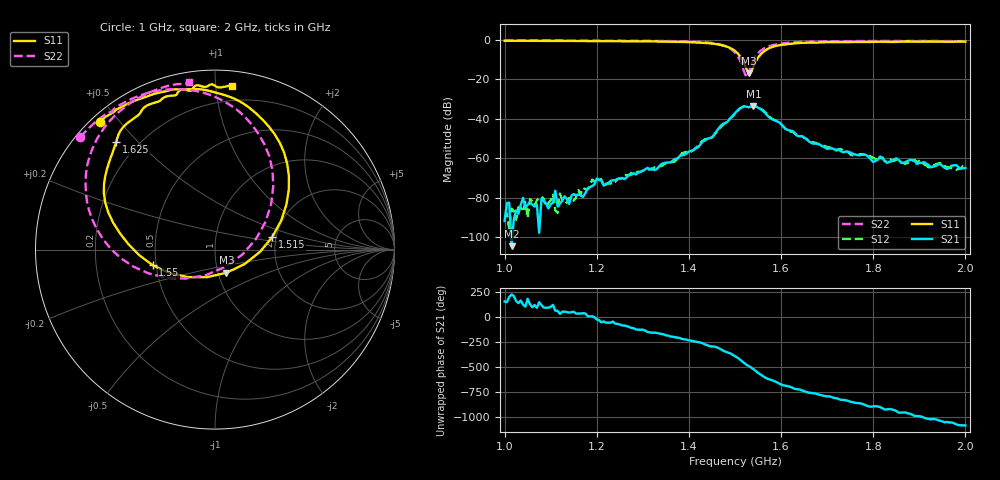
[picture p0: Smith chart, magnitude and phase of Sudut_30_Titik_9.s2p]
# Hz S RI R 50
! CMT, C1220, 16058040, 17.2.0/1
! Date: 14/08/2018 11:54:34
! Data: Format (Calibration Info)
! Freq  S11: Re/Im (F2)  S21: Re/Im (F2)  S12: Re/Im (F2)  S22: Re/Im (F2)
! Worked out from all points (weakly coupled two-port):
!   201 points, 1 GHz to 2 GHz, reference 50 ohm
!   highest |S21| = -33.62 dB at 1.54 GHz (marker M1); lowest = -104.7 dB at 1.015 GHz (marker M2)
!   lowest |S11| = -16.8 dB at 1.53 GHz (marker M3), VSWR 1.34, Z = 54.8 - j14.5 ohm
!   |S11| at or under -10 dB: 1.516 GHz to 1.547 GHz (31.65 MHz wide, 2.07 % of centre)
!   |S22| runs from -19.0 to -0.2 dB; largest |S21 - S12| = 0.00093
!   S11 on the Smith chart (normalised r, x): 1 GHz: 0.03, +0.44; 1.515 GHz: 1.91, +0.30; 1.55 GHz: 0.48, -0.10; 1.625 GHz: 0.12, +0.43; 2 GHz: 0.10, +1.10
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1e9  -0.6432 0.7106  -2.26e-05 1.17e-05  2.2e-05 -2.31e-05  -0.7501 0.6267
1.015e9  -0.6256 0.7239  -4.37e-06 -3.87e-06  -5.22e-05 -2.43e-06  -0.7397 0.6385
1.15e9  -0.4926 0.8098  7.89e-05 9.41e-05  6.72e-05 4.89e-05  -0.6327 0.7374
1.17e9  -0.4711 0.8199  8.47e-05 6.01e-05  0.000162 6.44e-05  -0.6125 0.7521
1.18e9  -0.4544 0.8267  0.000171 2.25e-05  0.00016 6.98e-08  -0.6011 0.7583
1.2e9  -0.4282 0.8359  0.000276 -0.000132  0.000262 -0.00017  -0.5784 0.7653
1.215e9  -0.4154 0.8405  0.000138 -0.000147  8.67e-05 -0.000178  -0.5716 0.7736
1.335e9  -0.2135 0.8931  -0.000593 -0.000143  -0.000615 -8.08e-05  -0.3958 0.866
1.45e9  0.1839 0.7959  0.00146 0.00301  0.00162 0.00303  0.0273 0.8381
1.5e9  0.4111 0.3341  0.012 -0.00711  0.0112 -0.00673  0.3244 0.3507
1.515e9  0.3198 0.0709  0.00293 -0.0193  0.00345 -0.0194  0.2281 0.0587
1.525e9  0.164 -0.0812  -0.00949 -0.0178  -0.00955 -0.0179  0.0569 -0.0962
1.53e9  0.064 -0.1291  -0.013 -0.0148  -0.0131 -0.0149  -0.0503 -0.1422
1.54e9  -0.1497 -0.1534  -0.0199 -0.00631  -0.0197 -0.00634  -0.2718 -0.1571
1.55e9  -0.3462 -0.0877  -0.0183 0.00597  -0.0186 0.00527  -0.454 -0.0953
1.58e9  -0.6109 0.26  0.000312 0.00975  0.00072 0.0101  -0.7012 0.2164
1.625e9  -0.5505 0.5989  0.00477 0.00101  0.00451 0.00114  -0.6973 0.5219
1.67e9  -0.4385 0.7406  0.00175 -0.00155  0.00195 -0.00161  -0.6209 0.674
1.835e9  -0.1443 0.8851  -0.000768 0.000256  -0.000828 0.000427  -0.3702 0.873
1.885e9  -0.0816 0.9123  -0.000211 0.000879  -0.000329 0.000781  -0.2998 0.9005
1.925e9  -0.0227 0.9202  0.000309 0.0005  0.000243 0.000508  -0.245 0.9162
2e9  0.0943 0.9108  0.000566 -2.6e-05  0.000643 -6.42e-05  -0.147 0.931
